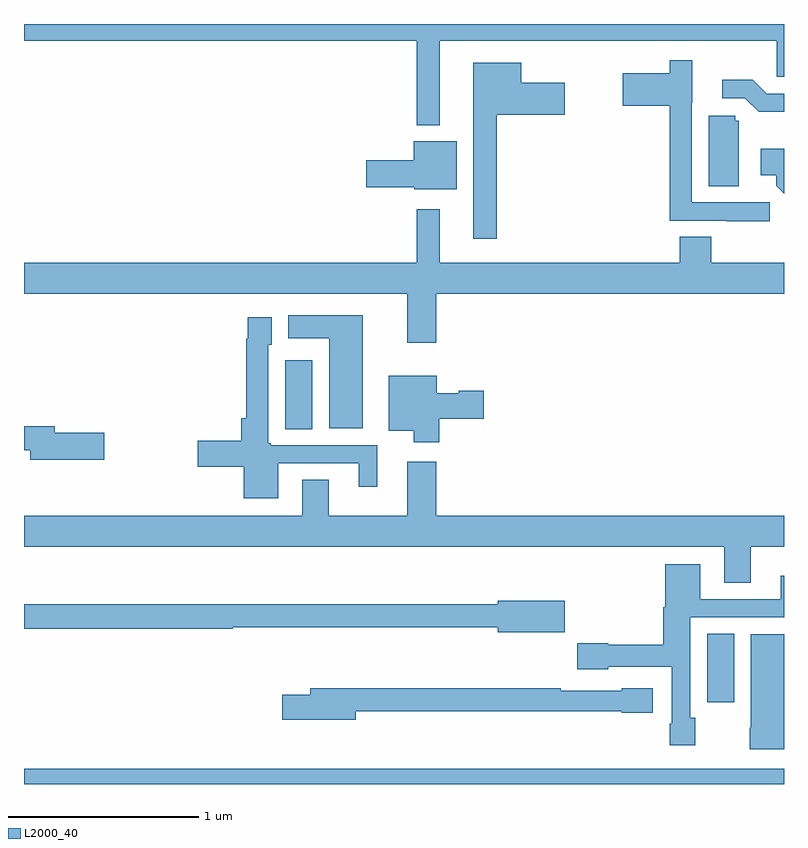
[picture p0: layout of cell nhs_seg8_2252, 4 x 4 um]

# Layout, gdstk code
import gdstk
lib = gdstk.Library(unit=1e-6, precision=1e-09)
def R(c, l, rs):  # rectangles x0, y0, x1, y1
    for r in rs: c.add(gdstk.rectangle(r[:2], r[2:], *l))
def P(c, l, *ps):  # polygons
    for p in ps: c.add(gdstk.Polygon(p, *l))
L2000_40 = (2000, 40)

nhs_seg8_2252 = lib.new_cell('nhs_seg8_2252')
R(nhs_seg8_2252, L2000_40, [(253,1133.9,257,1133.98), (256.595,1134.33,256.738,1134.692), (254.375,1135.768,254.518,1136.131)])
P(nhs_seg8_2252, L2000_40, [(255.187,1137.812),(256.962,1137.812),(256.962,1137.622),(257,1137.622),(257,1137.9),(253,1137.9),(253,1137.812),(255.066,1137.812),(255.066,1137.368),(255.187,1137.368)],
  [(256.924,1136.961),(256.515,1136.961),(256.515,1137.486),(256.516,1137.486),(256.516,1137.709),(256.399,1137.709),(256.399,1137.64),(256.152,1137.64),(256.152,1137.47),(256.399,1137.47),(256.399,1136.865),(256.699,1136.865),(256.699,1136.863),(256.924,1136.863)],
  [(255.487,1137.422),(255.847,1137.422),(255.847,1137.592),(255.616,1137.592),(255.616,1137.697),(255.365,1137.697),(255.365,1136.769),(255.487,1136.769)],
  [(256.966,1137.438),(257,1137.438),(257,1137.534),(256.908,1137.534),(256.835,1137.607),(256.674,1137.607),(256.674,1137.51),(256.794,1137.51),(256.867,1137.437),(256.966,1137.437)],
  [(256.762,1137.39),(256.743,1137.39),(256.743,1137.417),(256.604,1137.417),(256.604,1137.046),(256.762,1137.046)],
  [(255.277,1137.283),(255.05,1137.283),(255.05,1137.182),(254.802,1137.182),(254.802,1137.04),(255.054,1137.04),(255.054,1137.029),(255.277,1137.029)],
  [(257,1137.244),(256.878,1137.244),(256.878,1137.104),(256.958,1137.104),(256.958,1137.049),(257,1137.007)],
  [(255.17,1136.48),(257,1136.48),(257,1136.644),(256.616,1136.644),(256.616,1136.78),(256.451,1136.78),(256.451,1136.644),(255.187,1136.644),(255.187,1136.926),(255.066,1136.926),(255.066,1136.644),(253,1136.644),(253,1136.48),(255.017,1136.48),(255.017,1136.223),(255.17,1136.223)],
  [(254.782,1136.368),(254.39,1136.368),(254.39,1136.246),(254.606,1136.246),(254.606,1135.772),(254.782,1135.772)],
  [(254.338,1135.587),(254.762,1135.587),(254.762,1135.464),(254.86,1135.464),(254.86,1135.683),(254.298,1135.683),(254.298,1135.693),(254.286,1135.693),(254.286,1136.211),(254.305,1136.211),(254.305,1136.356),(254.178,1136.356),(254.178,1136.243),(254.17,1136.243),(254.17,1135.825),(254.144,1135.825),(254.144,1135.706),(253.914,1135.706),(253.914,1135.571),(254.156,1135.571),(254.156,1135.403),(254.338,1135.403)],
  [(255.185,1135.823),(255.421,1135.823),(255.421,1135.97),(255.288,1135.97),(255.288,1135.957),(255.172,1135.957),(255.172,1136.05),(254.921,1136.05),(254.921,1135.76),(255.05,1135.76),(255.05,1135.698),(255.185,1135.698)],
  [(253.423,1135.748),(253.162,1135.748),(253.162,1135.784),(253,1135.784),(253,1135.656),(253.034,1135.656),(253.034,1135.606),(253.423,1135.606)],
  [(256.825,1135.148),(257,1135.148),(257,1135.312),(255.17,1135.312),(255.17,1135.597),(255.017,1135.597),(255.017,1135.312),(254.605,1135.312),(254.605,1135.502),(254.465,1135.502),(254.465,1135.312),(253,1135.312),(253,1135.148),(256.685,1135.148),(256.685,1134.958),(256.825,1134.958)],
  [(256.533,1134.249),(256.506,1134.249),(256.506,1134.777),(257,1134.777),(257,1134.997),(256.982,1134.997),(256.982,1134.873),(256.558,1134.873),(256.558,1135.057),(256.376,1135.057),(256.376,1134.831),(256.364,1134.831),(256.364,1134.632),(256.074,1134.632),(256.074,1134.64),(255.912,1134.64),(255.912,1134.503),(256.074,1134.503),(256.074,1134.516),(256.41,1134.516),(256.41,1134.217),(256.398,1134.217),(256.398,1134.105),(256.533,1134.105)],
  [(255.847,1134.865),(255.494,1134.865),(255.494,1134.847),(253,1134.847),(253,1134.718),(254.098,1134.718),(254.098,1134.726),(255.494,1134.726),(255.494,1134.7),(255.847,1134.7)],
  [(257,1134.688),(256.826,1134.688),(256.826,1134.196),(256.819,1134.196),(256.819,1134.084),(257,1134.084)],
  [(254.746,1134.282),(256.146,1134.282),(256.146,1134.274),(256.309,1134.274),(256.309,1134.403),(256.146,1134.403),(256.146,1134.39),(255.824,1134.39),(255.824,1134.403),(254.507,1134.403),(254.507,1134.369),(254.358,1134.369),(254.358,1134.239),(254.746,1134.239)])

lib.write_gds('nhs_seg8_2252.gds')
